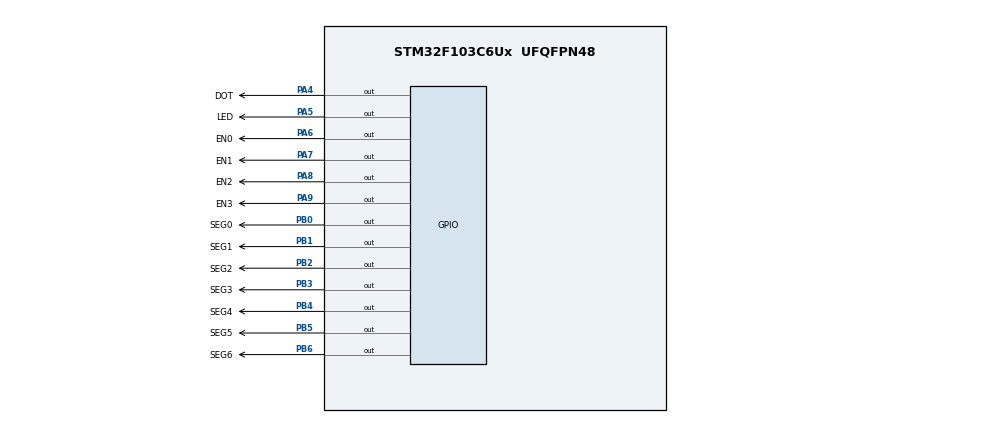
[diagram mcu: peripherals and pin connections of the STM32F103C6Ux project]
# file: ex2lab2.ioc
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Mcu.Family=STM32F1
Mcu.Name=STM32F103C6Ux
Mcu.Package=UFQFPN48
NVIC.PriorityGroup=NVIC_PRIORITYGROUP_4
NVIC.TIM2_IRQn=true\:0\:0\:false\:false\:true\:true\:true
PA4.GPIO_Label=DOT
PA4.Signal=GPIO_Output
PA5.GPIO_Label=LED
PA5.Signal=GPIO_Output
PA6.GPIO_Label=EN0
PA6.Signal=GPIO_Output
PA7.GPIO_Label=EN1
PA7.Signal=GPIO_Output
PA8.GPIO_Label=EN2
PA8.Signal=GPIO_Output
PA9.GPIO_Label=EN3
PA9.Signal=GPIO_Output
PB0.GPIO_Label=SEG0
PB0.Signal=GPIO_Output
PB1.GPIO_Label=SEG1
PB1.Signal=GPIO_Output
PB2.GPIO_Label=SEG2
PB2.Signal=GPIO_Output
PB3.GPIO_Label=SEG3
PB3.Signal=GPIO_Output
PB4.GPIO_Label=SEG4
PB4.Signal=GPIO_Output
PB5.GPIO_Label=SEG5
PB5.Signal=GPIO_Output
PB6.GPIO_Label=SEG6
PB6.Signal=GPIO_Output
ProjectManager.HeapSize=0x200
ProjectManager.StackSize=0x400
ProjectManager.TargetToolchain=STM32CubeIDE
RCC.APB1Freq_Value=8000000
RCC.APB2Freq_Value=8000000
TIM2.Period=9
TIM2.Prescaler=7999
VP_SYS_VS_ND.Mode=No_Debug
VP_TIM2_VS_ClockSourceINT.Mode=Internal
board=custom

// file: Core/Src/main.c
/* USER CODE BEGIN Header */
/**
  ******************************************************************************
  * @file           : main.c
  * @brief          : Lab 2 - Exercise 2: 4 Seven Segment LED Scanning & DOT Toggle
  ******************************************************************************
  */
/* USER CODE END Header */

#include "main.h"

TIM_HandleTypeDef htim2;

/* USER CODE BEGIN PV */
// Khai báo biến đếm thời gian và trạng thái
int timer_counter = 50; // 50 x 10ms = 500ms chuyển mỗi LED (Chu kỳ quét 4 LED = 2s)
int dot_counter = 50;   // 50 x 10ms = 500ms (Đảo trạng thái DOT mỗi 0.5s -> Chu kỳ chớp tắt = 1s)
int led_state = 0;      // Trạng thái quét: 0 -> LED1, 1 -> LED2, 2 -> LED3, 3 -> LED4
/* USER CODE END PV */

void SystemClock_Config(void);
static void MX_GPIO_Init(void);
static void MX_TIM2_Init(void);
/* USER CODE BEGIN PFP */
void display7SEG(int num);
/* USER CODE END PFP */

/* USER CODE BEGIN 0 */
// Hàm xuất mã 7 đoạn Anode chung lên PB0 -> PB6
void display7SEG(int num) {
    uint8_t segmentNumber[10] = {
        0b00111111, // 0
        0b00000110, // 1
        0b01011011, // 2
        0b01001111, // 3
        0b01100110, // 4
        0b01101101, // 5
        0b01111101, // 6
        0b00000111, // 7
        0b01111111, // 8
        0b01101111  // 9
    };

    if (num >= 0 && num <= 9) {
        uint8_t data = ~segmentNumber[num]; // Đảo bit cho Anode chung (Mức LOW = SÁNG)
        for (int i = 0; i < 7; i++) {
            HAL_GPIO_WritePin(GPIOB, GPIO_PIN_0 << i, (data >> i) & 0x01);
        }
    }
}
/* USER CODE END 0 */

int main(void)
{
  /* MCU Configuration */
  HAL_Init();
  SystemClock_Config();

  /* Initialize all configured peripherals */
  MX_GPIO_Init();
  MX_TIM2_Init();

  /* USER CODE BEGIN 2 */
  // Khởi chạy ngắt Timer 2 (Chu kỳ ngắt 10ms)
  HAL_TIM_Base_Start_IT(&htim2);
  /* USER CODE END 2 */

  /* Infinite loop */
  while (1)
  {

  }
}

void SystemClock_Config(void)
{
  RCC_OscInitTypeDef RCC_OscInitStruct = {0};
  RCC_ClkInitTypeDef RCC_ClkInitStruct = {0};

  RCC_OscInitStruct.OscillatorType = RCC_OSCILLATORTYPE_HSI;
  RCC_OscInitStruct.HSIState = RCC_HSI_ON;
  RCC_OscInitStruct.HSICalibrationValue = RCC_HSICALIBRATION_DEFAULT;
  RCC_OscInitStruct.PLL.PLLState = RCC_PLL_NONE;
  if (HAL_RCC_OscConfig(&RCC_OscInitStruct) != HAL_OK)
  {
    Error_Handler();
  }

  RCC_ClkInitStruct.ClockType = RCC_CLOCKTYPE_HCLK|RCC_CLOCKTYPE_SYSCLK
                              |RCC_CLOCKTYPE_PCLK1|RCC_CLOCKTYPE_PCLK2;
  RCC_ClkInitStruct.SYSCLKSource = RCC_SYSCLKSOURCE_HSI;
  RCC_ClkInitStruct.AHBCLKDivider = RCC_SYSCLK_DIV1;
  RCC_ClkInitStruct.APB1CLKDivider = RCC_HCLK_DIV1;
  RCC_ClkInitStruct.APB2CLKDivider = RCC_HCLK_DIV1;

  if (HAL_RCC_ClockConfig(&RCC_ClkInitStruct, FLASH_LATENCY_0) != HAL_OK)
  {
    Error_Handler();
  }
}

static void MX_TIM2_Init(void)
{
  TIM_ClockConfigTypeDef sClockSourceConfig = {0};
  TIM_MasterConfigTypeDef sMasterConfig = {0};

  htim2.Instance = TIM2;
  htim2.Init.Prescaler = 7999; // 8MHz / 8000 = 1000Hz (1ms)
  htim2.Init.CounterMode = TIM_COUNTERMODE_UP;
  htim2.Init.Period = 9;       // Tần số ngắt = 10ms
  htim2.Init.ClockDivision = TIM_CLOCKDIVISION_DIV1;
  htim2.Init.AutoReloadPreload = TIM_AUTORELOAD_PRELOAD_DISABLE;
  if (HAL_TIM_Base_Init(&htim2) != HAL_OK)
  {
    Error_Handler();
  }
  sClockSourceConfig.ClockSource = TIM_CLOCKSOURCE_INTERNAL;
  if (HAL_TIM_ConfigClockSource(&htim2, &sClockSourceConfig) != HAL_OK)
  {
    Error_Handler();
  }
  sMasterConfig.MasterOutputTrigger = TIM_TRGO_RESET;
  sMasterConfig.MasterSlaveMode = TIM_MASTERSLAVEMODE_DISABLE;
  if (HAL_TIMEx_MasterConfigSynchronization(&htim2, &sMasterConfig) != HAL_OK)
  {
    Error_Handler();
  }
}

static void MX_GPIO_Init(void)
{
  GPIO_InitTypeDef GPIO_InitStruct = {0};

  /* GPIO Ports Clock Enable */
  __HAL_RCC_GPIOA_CLK_ENABLE();
  __HAL_RCC_GPIOB_CLK_ENABLE();

  /* Mặc định tắt các Transistor PNP (Xuất HIGH) và LED DOT (Xuất LOW) */
  HAL_GPIO_WritePin(GPIOA, DOT_Pin|LED_Pin, GPIO_PIN_RESET);
  HAL_GPIO_WritePin(GPIOA, EN0_Pin|EN1_Pin|EN2_Pin|EN3_Pin, GPIO_PIN_SET);

  /* Mặc định tắt các thanh đoạn LED 7 đoạn */
  HAL_GPIO_WritePin(GPIOB, SEG0_Pin|SEG1_Pin|SEG2_Pin|SEG3_Pin
                          |SEG4_Pin|SEG5_Pin|SEG6_Pin, GPIO_PIN_RESET);

  /* Cấu hình các chân PA4 (DOT), PA5 (LED), PA6..PA9 (EN0..EN3) */
  GPIO_InitStruct.Pin = DOT_Pin|LED_Pin|EN0_Pin|EN1_Pin
                          |EN2_Pin|EN3_Pin;
  GPIO_InitStruct.Mode = GPIO_MODE_OUTPUT_PP;
  GPIO_InitStruct.Pull = GPIO_NOPULL;
  GPIO_InitStruct.Speed = GPIO_SPEED_FREQ_LOW;
  HAL_GPIO_Init(GPIOA, &GPIO_InitStruct);

  /* Cấu hình các chân PB0..PB6 (SEG0..SEG6) */
  GPIO_InitStruct.Pin = SEG0_Pin|SEG1_Pin|SEG2_Pin|SEG3_Pin
                          |SEG4_Pin|SEG5_Pin|SEG6_Pin;
  GPIO_InitStruct.Mode = GPIO_MODE_OUTPUT_PP;
  GPIO_InitStruct.Pull = GPIO_NOPULL;
  GPIO_InitStruct.Speed = GPIO_SPEED_FREQ_LOW;
  HAL_GPIO_Init(GPIOB, &GPIO_InitStruct);
}

/* USER CODE BEGIN 4 */
// Hàm xử lý ngắt Timer 2 (Gắn ngắt mỗi 10ms)
void HAL_TIM_PeriodElapsedCallback(TIM_HandleTypeDef *htim) {
    if (htim->Instance == TIM2) {

        // 1. Quét luân phiên 4 LED 7-đoạn (Chuyển LED mỗi 500ms)
        timer_counter--;
        if (timer_counter <= 0) {
            timer_counter = 50; // Reset đếm 500ms (50 x 10ms)

            // Tắt tất cả 4 Transistor PNP trước để chống lem nét / bóng ma
            HAL_GPIO_WritePin(GPIOA, GPIO_PIN_6 | GPIO_PIN_7 | GPIO_PIN_8 | GPIO_PIN_9, GPIO_PIN_SET);

            switch (led_state) {
                case 0:
                    display7SEG(1); // Hiển thị số 1 trên LED 1
                    HAL_GPIO_WritePin(GPIOA, GPIO_PIN_6, GPIO_PIN_RESET); // Bật EN0 (PA6)
                    led_state = 1;
                    break;

                case 1:
                    display7SEG(2); // Hiển thị số 2 trên LED 2
                    HAL_GPIO_WritePin(GPIOA, GPIO_PIN_7, GPIO_PIN_RESET); // Bật EN1 (PA7)
                    led_state = 2;
                    break;

                case 2:
                    display7SEG(3); // Hiển thị số 3 trên LED 3
                    HAL_GPIO_WritePin(GPIOA, GPIO_PIN_8, GPIO_PIN_RESET); // Bật EN2 (PA8)
                    led_state = 3;
                    break;

                case 3:
                    display7SEG(0); // Hiển thị số 0 trên LED 4 (Mô phỏng 12:30)
                    HAL_GPIO_WritePin(GPIOA, GPIO_PIN_9, GPIO_PIN_RESET); // Bật EN3 (PA9)
                    led_state = 0;
                    break;

                default:
                    led_state = 0;
                    break;
            }
        }

        // 2. Logic chớp tắt 2 LED DOT ở chân PA4 (Chu kỳ 1s: 0.5s sáng, 0.5s tắt)
        dot_counter--;
        if (dot_counter <= 0) {
            dot_counter = 50; // Reset đếm 500ms
            HAL_GPIO_TogglePin(GPIOA, GPIO_PIN_4); // Đảo trạng thái chân PA4 (DOT)
        }
    }
}
/* USER CODE END 4 */

void Error_Handler(void)
{
  __disable_irq();
  while (1)
  {
  }
}
